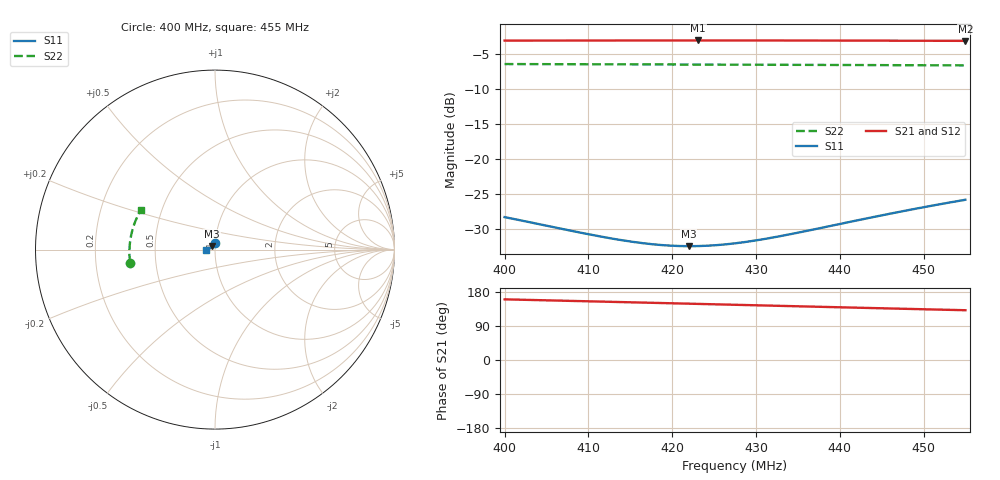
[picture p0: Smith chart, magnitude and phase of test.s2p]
!Agilent Technologies,E8358A,US41080382,A.04.87.01
!Agilent E8358A: A.04.87.01
!Date: Friday, January 09, 2015 18:36:53
!Correction: S11(Full 2 Port SOLT,1,2) S21(Full 2 Port SOLT,1,2) S12(Full 2 Port SOLT,1,2) S22(Full 2 Port SOLT,1,2)
!S2P File: Measurements: S11, S21, S12, S22:
# Hz S  dB  R 50
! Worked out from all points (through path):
!   51 points, 400 MHz to 455 MHz, reference 50 ohm
!   highest |S21| = -3.03 dB at 423.1 MHz (marker M1); lowest = -3.1 dB at 455 MHz (marker M2)
!   group delay of S21, straight-line fit = 1.46 ns
!   lowest |S11| = -32.4 dB at 422 MHz (marker M3), VSWR 1.05, Z = 48.3 + j1.68 ohm
!   |S11| at or under -10 dB: start of sweep to end of sweep
!   |S22| runs from -6.6 to -6.4 dB; largest |S21 - S12| = 0.0025
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4e8  -28.26 89.2  -3.05 160.0  -3.04 159.9  -6.40 -171.3
4.044e8  -29.34 94.1  -3.05 157.8  -3.04 157.6  -6.41 -174.3
4.099e8  -30.68 102.7  -3.04 154.9  -3.04 154.8  -6.43 -177.9
4.121e8  -31.17 107.2  -3.04 153.8  -3.04 153.6  -6.44 -179.4
4.143e8  -31.62 112.2  -3.03 152.6  -3.04 152.5  -6.44 179.1
4.165e8  -31.98 117.8  -3.03 151.5  -3.04 151.3  -6.45 177.6
4.187e8  -32.25 123.9  -3.03 150.3  -3.04 150.2  -6.46 176.2
4.198e8  -32.34 127.1  -3.03 149.8  -3.04 149.6  -6.46 175.4
4.209e8  -32.39 130.3  -3.03 149.2  -3.04 149.1  -6.46 174.7
4.22e8  -32.41 133.6  -3.03 148.6  -3.04 148.5  -6.47 174.0
4.231e8  -32.40 136.9  -3.03 148.0  -3.04 147.9  -6.47 173.2
4.242e8  -32.35 140.1  -3.03 147.4  -3.04 147.4  -6.48 172.5
4.253e8  -32.26 143.3  -3.03 146.9  -3.04 146.8  -6.48 171.7
4.275e8  -32.01 149.4  -3.03 145.7  -3.04 145.7  -6.49 170.3
4.297e8  -31.64 155.1  -3.03 144.5  -3.04 144.5  -6.49 168.8
4.319e8  -31.20 160.2  -3.03 143.4  -3.05 143.4  -6.50 167.3
4.341e8  -30.70 164.7  -3.04 142.2  -3.05 142.2  -6.51 165.8
4.374e8  -29.90 170.3  -3.04 140.5  -3.05 140.5  -6.52 163.6
4.429e8  -28.52 177.2  -3.05 137.6  -3.05 137.7  -6.54 159.9
4.462e8  -27.73 -179.9  -3.06 135.9  -3.06 136.0  -6.56 157.6
4.506e8  -26.72 -177.0  -3.07 133.6  -3.06 133.7  -6.57 154.6
4.55e8  -25.78 -175.1  -3.09 131.3  -3.07 131.4  -6.59 151.6
